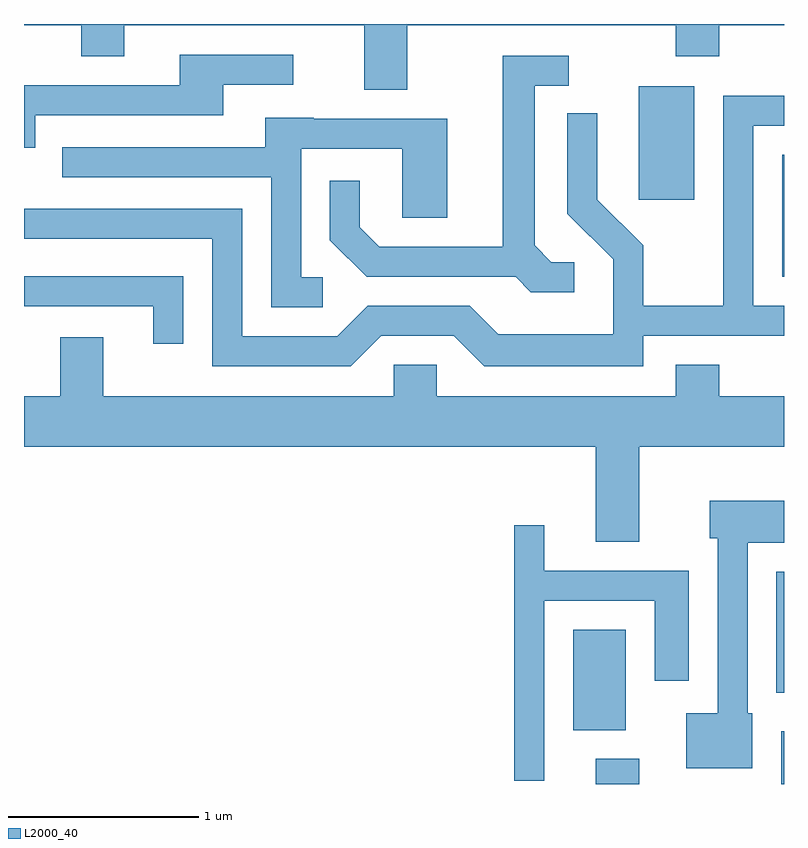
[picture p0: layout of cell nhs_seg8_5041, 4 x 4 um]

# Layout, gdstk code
import gdstk
lib = gdstk.Library(unit=1e-6, precision=1e-09)
def R(c, l, rs):  # rectangles x0, y0, x1, y1
    for r in rs: c.add(gdstk.rectangle(r[:2], r[2:], *l))
def P(c, l, *ps):  # polygons
    for p in ps: c.add(gdstk.Polygon(p, *l))
L2000_40 = (2000, 40)

nhs_seg8_5041 = lib.new_cell('nhs_seg8_5041')
R(nhs_seg8_5041, L2000_40, [(338.621,1912.342,338.849,1912.474), (339.596,1912.342,339.611,1912.619), (338.501,1912.626,338.779,1913.154), (339.571,1912.821,339.611,1913.459), (339.601,1915.011,339.611,1915.654), (338.846,1915.416,339.139,1916.014)])
P(nhs_seg8_5041, L2000_40, [(337.629,1916.336),(339.041,1916.336),(339.041,1916.171),(339.269,1916.171),(339.269,1916.336),(339.611,1916.336),(339.611,1916.342),(335.611,1916.342),(335.611,1916.336),(335.911,1916.336),(335.911,1916.171),(336.139,1916.171),(336.139,1916.336),(337.401,1916.336),(337.401,1915.996),(337.629,1915.996)],
  [(335.669,1915.861),(336.659,1915.861),(336.659,1916.021),(337.028,1916.021),(337.028,1916.179),(336.431,1916.179),(336.431,1916.019),(335.611,1916.019),(335.611,1915.691),(335.669,1915.691)],
  [(338.508,1915.089),(338.387,1915.089),(338.299,1915.177),(338.299,1916.016),(338.478,1916.016),(338.478,1916.174),(338.131,1916.174),(338.131,1915.169),(337.482,1915.169),(337.379,1915.272),(337.379,1915.518),(337.221,1915.518),(337.221,1915.204),(337.414,1915.011),(338.199,1915.011),(338.279,1914.931),(338.508,1914.931)],
  [(337.492,1914.701),(337.874,1914.701),(338.034,1914.541),(338.869,1914.541),(338.869,1914.701),(339.611,1914.701),(339.611,1914.859),(339.449,1914.859),(339.449,1915.806),(339.611,1915.806),(339.611,1915.964),(339.291,1915.964),(339.291,1914.859),(338.869,1914.859),(338.869,1915.177),(338.629,1915.417),(338.629,1915.873),(338.471,1915.873),(338.471,1915.344),(338.711,1915.104),(338.711,1914.709),(338.107,1914.709),(337.957,1914.859),(337.419,1914.859),(337.259,1914.699),(336.759,1914.699),(336.759,1915.369),(335.611,1915.369),(335.611,1915.211),(336.601,1915.211),(336.601,1914.541),(337.332,1914.541)],
  [(337.183,1915.009),(337.069,1915.009),(337.069,1915.686),(337.601,1915.686),(337.601,1915.321),(337.839,1915.321),(337.839,1915.844),(337.135,1915.844),(337.135,1915.849),(336.881,1915.849),(336.881,1915.694),(335.813,1915.694),(335.813,1915.536),(336.911,1915.536),(336.911,1914.851),(337.183,1914.851)],
  [(336.449,1915.014),(335.611,1915.014),(335.611,1914.856),(336.291,1914.856),(336.291,1914.658),(336.449,1914.658)],
  [(338.849,1914.116),(339.611,1914.116),(339.611,1914.384),(339.269,1914.384),(339.269,1914.549),(339.041,1914.549),(339.041,1914.384),(337.784,1914.384),(337.784,1914.549),(337.556,1914.549),(337.556,1914.384),(336.029,1914.384),(336.029,1914.694),(335.801,1914.694),(335.801,1914.384),(335.611,1914.384),(335.611,1914.116),(338.621,1914.116),(338.621,1913.616),(338.849,1913.616)],
  [(339.444,1912.714),(339.419,1912.714),(339.419,1913.611),(339.611,1913.611),(339.611,1913.834),(339.221,1913.834),(339.221,1913.636),(339.261,1913.636),(339.261,1912.714),(339.096,1912.714),(339.096,1912.426),(339.444,1912.426)],
  [(338.349,1913.306),(338.931,1913.306),(338.931,1912.886),(339.109,1912.886),(339.109,1913.464),(338.349,1913.464),(338.349,1913.703),(338.191,1913.703),(338.191,1912.358),(338.349,1912.358)])

lib.write_gds('nhs_seg8_5041.gds')
